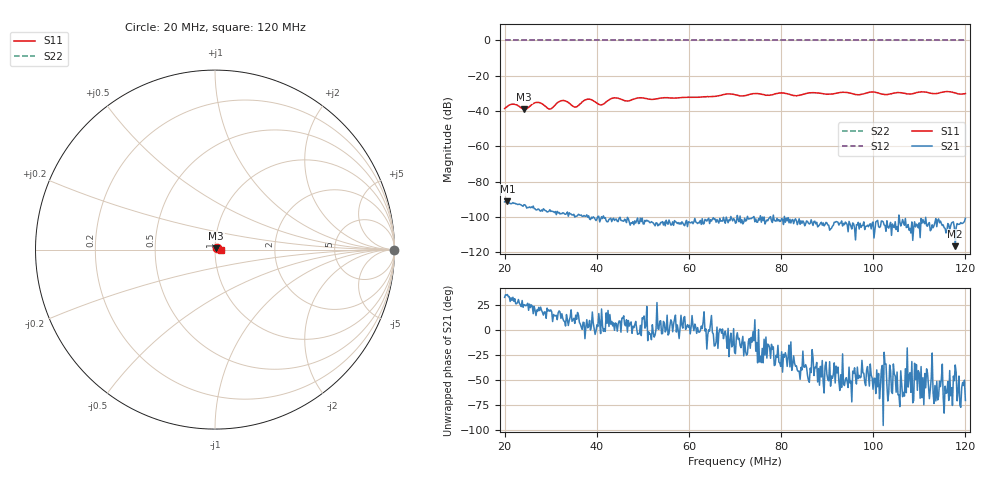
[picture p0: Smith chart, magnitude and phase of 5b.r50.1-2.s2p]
! Anritsu VNA Master:  Model: MS2036C/10/77
! SN:  1601066
! /card0/usr/18may27.balun/5b.r50.s2p
! Existing Calibration Information:
! TYPE:  Current Settings,  Active Cal Settings
! TIME:  05/27/2018 03:35:15 PM,  05/27/2018 03:21:57 PM
! INTERNAL TEMP:  53.3 C,  52.3 C
! # POINTS:  500,  500
! START FREQ:  20.000 MHz,  20.000 MHz
! STOP FREQ:  120.000 MHz,  120.000 MHz
! SOURCE POWER:  High,  High
! IFBW:  50 Hz,  50 Hz
! AVG FACTOR:  1 ,  1
! REF PLANE 1:  0 mm,  0 mm
! REF PLANE 2:  0 mm,  0 mm
! CAL TYPE:  Full S11,  Full S11
! CAL METHOD:  SOLT,  SOLT
! CAL LINE TYPE:  Coax,  Coax
! DUT PORT 1:  K-Conn(M),  K-Conn(M)
! DUT PORT 2:  K-Conn(M),  K-Conn(M)
! CAL STATUS:  OK: Accuracy High,  --
# GHZ S DB R 50.0
! FREQ.GHZ  S11DB  S11A  S21DB  S21A  S12DB  S12A  S22DB  S22A
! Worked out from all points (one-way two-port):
!   500 points, 20 MHz to 120 MHz, reference 50 ohm
!   highest |S21| = -91.06 dB at 20.6 MHz (marker M1); lowest = -116.5 dB at 117.8 MHz (marker M2)
!   lowest |S11| = -39.0 dB at 24.21 MHz (marker M3), VSWR 1.02, Z = 50.6 + j0.964 ohm
!   |S11| at or under -10 dB: start of sweep to end of sweep
!   |S22| runs from 0.0 to 0.0 dB; largest |S21 - S12| = 1
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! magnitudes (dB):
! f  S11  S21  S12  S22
! 20 MHz  -38.6  -91.4  0.0  0.0
! 20.6 MHz  -37.3  -91.1  0.0  0.0
! 22.2 MHz  -36.2  -92.2  0.0  0.0
! 24.21 MHz  -39.0  -93.0  0.0  0.0
! 27.01 MHz  -35.1  -96.0  0.0  0.0
! 29.82 MHz  -38.8  -95.9  0.0  0.0
! 32.42 MHz  -34.1  -98.1  0.0  0.0
! 35.23 MHz  -37.8  -100.1  0.0  0.0
! 36.83 MHz  -34.8  -99.6  0.0  0.0
! 38.44 MHz  -33.3  -101.1  0.0  0.0
! 40.84 MHz  -36.5  -101.3  0.0  0.0
! 43.85 MHz  -32.5  -102.0  0.0  0.0
! 46.45 MHz  -34.2  -103.1  0.0  0.0
! 49.06 MHz  -32.5  -103.7  0.0  0.0
! 53.47 MHz  -32.8  -104.1  0.0  0.0
! 70.1 MHz  -30.8  -103.5  0.0  0.0
! 80.12 MHz  -29.7  -100.8  0.0  0.0
! 83.13 MHz  -31.2  -101.0  0.0  0.0
! 86.73 MHz  -29.6  -103.3  0.0  0.0
! 103.4 MHz  -30.5  -106.3  0.0  0.0
! 117.8 MHz  -29.8  -116.5  0.0  0.0
! 120 MHz  -30.1  -100.7  0.0  0.0
